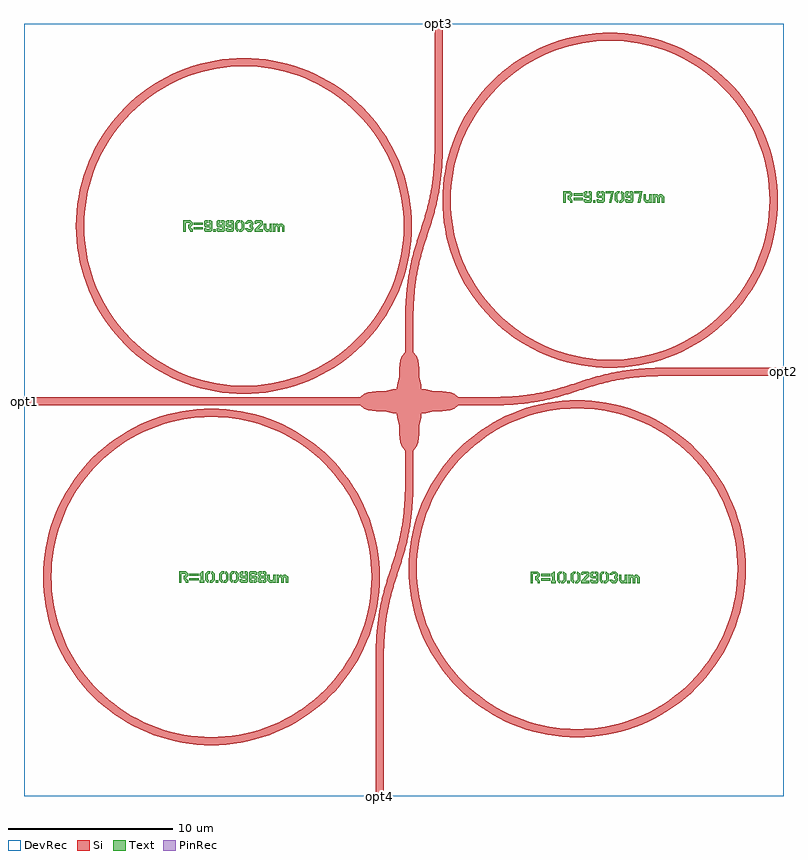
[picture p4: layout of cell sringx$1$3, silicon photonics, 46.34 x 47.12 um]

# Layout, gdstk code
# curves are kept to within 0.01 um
import gdstk
lib = gdstk.Library(unit=1e-6, precision=1e-09)
def R(c, l, rs):  # rectangles x0, y0, x1, y1
    for r in rs: c.add(gdstk.rectangle(r[:2], r[2:], *l))
def P(c, l, *ps):  # polygons
    for p in ps: c.add(gdstk.Polygon(p, *l))
Si = (1, 0)
PinRec = (1, 10)
Text = (10, 0)
DevRec = (68, 0)

sringx_1_3 = lib.new_cell('sringx$1$3')
R(sringx_1_3, Si, [(21.43,0,21.93,8.29), (0,23.83,18.68,24.33), (39.28,25.63,46.32,26.13), (25.03,39.88,25.53,47.1)])
P(sringx_1_3, Si, [(23.23,19.28),(23.23,21.08),(23.02,21.33),(22.93,21.58),(22.89,21.83),(22.86,22.58),(22.76,23.08),(22.73,23.34),(22.48,23.36),(21.98,23.46),(21.23,23.49),(20.98,23.53),(20.73,23.62),(20.48,23.83),(18.68,23.83),(18.68,24.33),(20.48,24.33),(20.73,24.54),(20.98,24.63),(21.23,24.67),(21.98,24.7),(22.48,24.8),(22.73,24.82),(22.76,25.08),(22.86,25.58),(22.89,26.33),(22.93,26.58),(23.02,26.83),(23.23,27.08),(23.23,28.88),(23.73,28.88),(23.73,27.08),(23.94,26.83),(24.03,26.58),(24.07,26.33),(24.1,25.58),(24.2,25.08),(24.22,24.83),(24.48,24.8),(24.98,24.7),(25.73,24.67),(25.98,24.63),(26.23,24.54),(26.48,24.33),(28.28,24.33),(28.28,23.83),(26.48,23.83),(26.23,23.62),(25.98,23.53),(25.73,23.49),(24.98,23.46),(24.48,23.36),(24.22,23.33),(24.2,23.08),(24.1,22.58),(24.07,21.83),(24.03,21.58),(23.94,21.33),(23.73,21.08),(23.73,19.28)],
  [(28.28,23.83),(28.28,24.33),(29.22,24.349),(30.051,24.403),(30.787,24.487),(31.549,24.617),(32.136,24.749),(32.68,24.896),(34.298,25.41),(35.017,25.622),(35.703,25.79),(36.467,25.933),(37.201,26.029),(37.879,26.087),(38.626,26.121),(39.28,26.13),(39.28,25.63),(38.34,25.611),(37.509,25.557),(36.773,25.473),(36.011,25.343),(35.424,25.211),(34.88,25.064),(33.262,24.55),(32.543,24.338),(31.857,24.17),(31.093,24.027),(30.359,23.931),(29.681,23.873),(28.934,23.839)],
  [(21.43,8.28),(21.439,8.934),(21.473,9.681),(21.531,10.359),(21.627,11.093),(21.77,11.857),(21.938,12.543),(22.15,13.262),(22.664,14.88),(22.811,15.424),(22.943,16.011),(23.073,16.773),(23.157,17.509),(23.211,18.34),(23.23,19.28),(23.73,19.28),(23.721,18.626),(23.687,17.879),(23.629,17.201),(23.533,16.467),(23.39,15.703),(23.222,15.017),(23.01,14.298),(22.496,12.68),(22.349,12.136),(22.217,11.549),(22.087,10.787),(22.003,10.051),(21.949,9.22),(21.93,8.28)],
  [(23.23,28.88),(23.239,29.534),(23.273,30.281),(23.331,30.959),(23.427,31.693),(23.57,32.457),(23.738,33.143),(23.95,33.862),(24.464,35.48),(24.611,36.024),(24.743,36.611),(24.873,37.373),(24.957,38.109),(25.011,38.94),(25.03,39.88),(25.53,39.88),(25.521,39.226),(25.487,38.479),(25.429,37.801),(25.333,37.067),(25.19,36.303),(25.022,35.617),(24.81,34.898),(24.296,33.28),(24.149,32.736),(24.017,32.149),(23.887,31.387),(23.803,30.651),(23.749,29.82),(23.73,28.88)],
  [(13.4,24.53),(12.953,24.539),(12.063,24.617),(11.184,24.772),(10.321,25.004),(9.481,25.309),(9.072,25.489),(8.672,25.687),(7.898,26.133),(7.526,26.382),(6.818,26.925),(6.159,27.529),(5.555,28.188),(5.276,28.536),(4.763,29.268),(4.317,30.042),(4.119,30.442),(3.939,30.851),(3.634,31.691),(3.402,32.554),(3.247,33.433),(3.169,34.323),(3.16,34.77),(3.169,35.217),(3.247,36.107),(3.402,36.986),(3.634,37.849),(3.939,38.689),(4.119,39.098),(4.317,39.498),(4.763,40.272),(5.012,40.644),(5.555,41.352),(6.159,42.011),(6.818,42.615),(7.166,42.894),(7.898,43.407),(8.672,43.853),(9.072,44.051),(9.481,44.231),(10.321,44.536),(11.184,44.768),(12.063,44.923),(12.953,45.001),(13.4,45.01),(13.847,45.001),(14.737,44.923),(15.616,44.768),(16.479,44.536),(17.319,44.231),(17.728,44.051),(18.128,43.853),(18.902,43.407),(19.274,43.158),(19.982,42.615),(20.641,42.011),(21.245,41.352),(21.524,41.004),(22.037,40.272),(22.483,39.498),(22.681,39.098),(22.861,38.689),(23.166,37.849),(23.398,36.986),(23.553,36.107),(23.631,35.217),(23.64,34.77),(23.14,34.77),(23.131,35.195),(23.057,36.041),(22.909,36.878),(22.69,37.699),(22.399,38.497),(22.04,39.268),(21.615,40.003),(21.379,40.357),(21.128,40.7),(20.581,41.35),(19.98,41.951),(19.33,42.498),(18.987,42.749),(18.27,43.205),(17.898,43.41),(17.127,43.769),(16.329,44.06),(15.921,44.178),(15.508,44.279),(14.671,44.427),(13.825,44.501),(12.975,44.501),(12.129,44.427),(11.709,44.362),(11.292,44.279),(10.471,44.06),(9.673,43.769),(8.902,43.41),(8.167,42.985),(7.47,42.498),(7.139,42.232),(6.513,41.657),(5.938,41.031),(5.672,40.7),(5.185,40.003),(4.76,39.268),(4.572,38.886),(4.401,38.497),(4.11,37.699),(3.891,36.878),(3.808,36.461),(3.743,36.041),(3.669,35.195),(3.669,34.345),(3.743,33.499),(3.808,33.079),(3.891,32.662),(4.11,31.841),(4.401,31.043),(4.572,30.654),(4.76,30.272),(5.185,29.537),(5.672,28.84),(5.938,28.509),(6.513,27.883),(7.139,27.308),(7.47,27.042),(7.813,26.791),(8.53,26.335),(8.902,26.13),(9.673,25.771),(10.471,25.48),(10.879,25.362),(11.292,25.261),(12.129,25.113),(12.975,25.039),(13.825,25.039),(14.249,25.067),(15.091,25.178),(15.508,25.261),(16.329,25.48),(17.127,25.771),(17.516,25.942),(17.898,26.13),(18.633,26.555),(19.33,27.042),(19.661,27.308),(20.287,27.883),(20.862,28.509),(21.128,28.84),(21.615,29.537),(22.04,30.272),(22.228,30.654),(22.399,31.043),(22.69,31.841),(22.909,32.662),(23.057,33.499),(23.131,34.345),(23.14,34.77),(23.64,34.77),(23.631,34.323),(23.553,33.433),(23.398,32.554),(23.166,31.691),(22.861,30.851),(22.681,30.442),(22.483,30.042),(22.037,29.268),(21.788,28.896),(21.245,28.188),(20.641,27.529),(19.982,26.925),(19.634,26.646),(18.902,26.133),(18.128,25.687),(17.728,25.489),(17.319,25.309),(16.479,25.004),(15.616,24.772),(14.737,24.617),(13.847,24.539)],
  [(11.42,3.11),(10.526,3.149),(9.638,3.266),(8.765,3.46),(8.335,3.585),(7.494,3.891),(6.683,4.27),(5.907,4.717),(5.174,5.23),(4.825,5.511),(4.165,6.115),(3.561,6.775),(3.28,7.124),(2.767,7.857),(2.32,8.633),(1.941,9.444),(1.635,10.285),(1.51,10.715),(1.316,11.588),(1.199,12.476),(1.16,13.37),(1.199,14.264),(1.316,15.152),(1.51,16.025),(1.635,16.455),(1.941,17.296),(2.32,18.107),(2.767,18.883),(3.28,19.616),(3.561,19.965),(4.165,20.625),(4.825,21.229),(5.174,21.51),(5.907,22.023),(6.683,22.47),(7.494,22.849),(8.335,23.155),(8.765,23.28),(9.638,23.474),(10.526,23.591),(11.42,23.63),(12.314,23.591),(13.202,23.474),(14.075,23.28),(14.505,23.155),(15.346,22.849),(16.157,22.47),(16.933,22.023),(17.666,21.51),(18.015,21.229),(18.675,20.625),(19.279,19.965),(19.56,19.616),(20.073,18.883),(20.52,18.107),(20.899,17.296),(21.205,16.455),(21.33,16.025),(21.524,15.152),(21.641,14.264),(21.68,13.37),(21.18,13.37),(21.143,14.221),(21.096,14.644),(20.948,15.482),(20.728,16.305),(20.437,17.105),(20.077,17.877),(19.872,18.25),(19.415,18.968),(19.163,19.311),(18.616,19.964),(18.014,20.566),(17.361,21.113),(17.018,21.365),(16.3,21.822),(15.927,22.027),(15.155,22.387),(14.355,22.678),(13.946,22.797),(13.115,22.981),(12.271,23.093),(11.42,23.13),(10.994,23.12),(10.569,23.093),(9.725,22.981),(8.894,22.797),(8.485,22.678),(7.685,22.387),(6.913,22.027),(6.54,21.822),(5.822,21.365),(5.147,20.846),(4.826,20.566),(4.519,20.271),(4.224,19.964),(3.677,19.311),(3.425,18.968),(2.968,18.25),(2.763,17.877),(2.403,17.105),(2.112,16.305),(1.892,15.482),(1.809,15.065),(1.697,14.221),(1.66,13.37),(1.67,12.944),(1.697,12.519),(1.809,11.675),(1.993,10.844),(2.112,10.435),(2.403,9.635),(2.763,8.863),(2.968,8.49),(3.425,7.772),(3.677,7.429),(4.224,6.776),(4.519,6.469),(4.826,6.174),(5.479,5.627),(5.822,5.375),(6.54,4.918),(6.913,4.713),(7.685,4.353),(8.485,4.062),(8.894,3.943),(9.725,3.759),(10.146,3.694),(10.569,3.647),(11.42,3.61),(12.271,3.647),(13.115,3.759),(13.532,3.842),(14.355,4.062),(15.155,4.353),(15.545,4.525),(15.927,4.713),(16.664,5.139),(17.361,5.627),(18.014,6.174),(18.321,6.469),(18.616,6.776),(19.163,7.429),(19.651,8.126),(20.077,8.863),(20.265,9.245),(20.437,9.635),(20.728,10.435),(20.948,11.258),(21.096,12.096),(21.143,12.519),(21.18,13.37),(21.68,13.37),(21.641,12.476),(21.524,11.588),(21.33,10.715),(21.205,10.285),(20.899,9.444),(20.52,8.633),(20.073,7.857),(19.56,7.124),(19.279,6.775),(18.675,6.115),(18.015,5.511),(17.666,5.23),(16.933,4.717),(16.157,4.27),(15.346,3.891),(14.505,3.585),(14.075,3.46),(13.202,3.266),(12.314,3.149)],
  [(35.73,26.119),(34.839,26.158),(34.396,26.206),(33.955,26.274),(33.518,26.361),(32.656,26.592),(32.234,26.735),(31.819,26.897),(31.01,27.274),(30.62,27.488),(29.867,27.967),(29.16,28.51),(28.503,29.113),(27.9,29.77),(27.357,30.477),(26.878,31.23),(26.664,31.62),(26.287,32.429),(26.125,32.844),(25.982,33.266),(25.857,33.695),(25.664,34.565),(25.596,35.006),(25.548,35.449),(25.509,36.34),(25.548,37.231),(25.596,37.674),(25.664,38.115),(25.751,38.552),(25.982,39.414),(26.125,39.836),(26.287,40.251),(26.664,41.06),(26.878,41.45),(27.357,42.203),(27.9,42.91),(28.503,43.567),(29.16,44.17),(29.867,44.713),(30.62,45.192),(31.01,45.406),(31.819,45.783),(32.234,45.945),(32.656,46.088),(33.085,46.213),(33.955,46.406),(34.396,46.474),(34.839,46.522),(35.73,46.561),(36.621,46.522),(37.064,46.474),(37.505,46.406),(37.942,46.319),(38.804,46.088),(39.226,45.945),(39.641,45.783),(40.45,45.406),(40.84,45.192),(41.593,44.713),(42.3,44.17),(42.957,43.567),(43.56,42.91),(44.103,42.203),(44.582,41.45),(44.796,41.06),(45.173,40.251),(45.335,39.836),(45.478,39.414),(45.603,38.985),(45.796,38.115),(45.864,37.674),(45.912,37.231),(45.951,36.34),(45.451,36.34),(45.442,36.764),(45.368,37.609),(45.221,38.444),(45.001,39.263),(44.711,40.06),(44.353,40.829),(43.929,41.563),(43.693,41.916),(43.177,42.589),(42.897,42.907),(42.604,43.214),(41.979,43.787),(41.306,44.303),(40.953,44.539),(40.219,44.963),(39.45,45.321),(38.653,45.611),(37.834,45.831),(36.999,45.978),(36.577,46.024),(36.154,46.052),(35.306,46.052),(34.461,45.978),(33.626,45.831),(33.214,45.73),(32.405,45.475),(32.01,45.321),(31.241,44.963),(30.507,44.539),(30.154,44.303),(29.481,43.787),(28.856,43.214),(28.283,42.589),(28.018,42.258),(27.531,41.563),(27.311,41.2),(27.107,40.829),(26.749,40.06),(26.595,39.665),(26.34,38.856),(26.239,38.444),(26.092,37.609),(26.018,36.764),(26.018,35.916),(26.046,35.493),(26.092,35.071),(26.239,34.236),(26.34,33.824),(26.595,33.015),(26.749,32.62),(27.107,31.851),(27.531,31.117),(27.767,30.764),(28.283,30.091),(28.856,29.466),(29.163,29.173),(29.481,28.893),(30.154,28.377),(30.507,28.141),(31.241,27.717),(32.01,27.359),(32.405,27.205),(33.214,26.95),(33.626,26.849),(34.461,26.702),(35.306,26.628),(36.154,26.628),(36.577,26.656),(36.999,26.702),(37.834,26.849),(38.246,26.95),(39.055,27.205),(39.45,27.359),(40.219,27.717),(40.953,28.141),(41.306,28.377),(41.979,28.893),(42.604,29.466),(43.177,30.091),(43.693,30.764),(43.929,31.117),(44.353,31.851),(44.711,32.62),(44.865,33.015),(45.12,33.824),(45.221,34.236),(45.368,35.071),(45.442,35.916),(45.451,36.34),(45.951,36.34),(45.912,35.449),(45.864,35.006),(45.796,34.565),(45.709,34.128),(45.478,33.266),(45.335,32.844),(45.173,32.429),(44.796,31.62),(44.582,31.23),(44.103,30.477),(43.56,29.77),(42.957,29.113),(42.3,28.51),(41.593,27.967),(40.84,27.488),(40.45,27.274),(39.641,26.897),(39.226,26.735),(38.804,26.592),(38.375,26.467),(37.505,26.274),(37.064,26.206),(36.621,26.158)],
  [(33.72,3.591),(32.824,3.63),(31.935,3.747),(31.06,3.941),(30.204,4.211),(29.786,4.373),(28.974,4.752),(28.58,4.968),(27.824,5.45),(27.113,5.996),(26.452,6.602),(25.846,7.263),(25.3,7.974),(24.818,8.73),(24.602,9.124),(24.223,9.936),(24.061,10.354),(23.791,11.21),(23.597,12.085),(23.48,12.974),(23.441,13.87),(23.48,14.766),(23.597,15.655),(23.791,16.53),(24.061,17.386),(24.223,17.804),(24.602,18.616),(24.818,19.01),(25.3,19.766),(25.846,20.477),(26.452,21.138),(27.113,21.744),(27.824,22.29),(28.58,22.772),(28.974,22.988),(29.786,23.367),(30.204,23.529),(31.06,23.799),(31.935,23.993),(32.824,24.11),(33.72,24.149),(34.616,24.11),(35.505,23.993),(36.38,23.799),(37.236,23.529),(37.654,23.367),(38.466,22.988),(38.86,22.772),(39.616,22.29),(40.327,21.744),(40.988,21.138),(41.594,20.477),(42.14,19.766),(42.622,19.01),(42.838,18.616),(43.217,17.804),(43.379,17.386),(43.649,16.53),(43.843,15.655),(43.96,14.766),(43.999,13.87),(43.499,13.87),(43.462,14.722),(43.35,15.568),(43.166,16.401),(43.046,16.811),(42.755,17.612),(42.583,18.003),(42.189,18.76),(41.731,19.479),(41.211,20.156),(40.93,20.477),(40.327,21.08),(40.006,21.361),(39.329,21.881),(38.61,22.339),(37.853,22.733),(37.462,22.905),(37.065,23.059),(36.251,23.316),(35.418,23.5),(34.572,23.612),(34.147,23.64),(33.293,23.64),(32.444,23.565),(31.603,23.417),(30.779,23.196),(29.978,22.905),(29.587,22.733),(28.83,22.339),(28.111,21.881),(27.767,21.628),(27.113,21.08),(26.805,20.785),(26.51,20.477),(25.962,19.823),(25.709,19.479),(25.251,18.76),(24.857,18.003),(24.685,17.612),(24.531,17.215),(24.274,16.401),(24.173,15.987),(24.025,15.146),(23.95,14.297),(23.95,13.443),(23.978,13.018),(24.09,12.172),(24.173,11.753),(24.274,11.339),(24.531,10.525),(24.857,9.737),(25.251,8.98),(25.472,8.616),(25.709,8.261),(26.229,7.584),(26.51,7.263),(27.113,6.66),(27.434,6.379),(28.111,5.859),(28.83,5.401),(29.587,5.007),(29.978,4.835),(30.375,4.681),(31.189,4.424),(31.603,4.323),(32.444,4.175),(33.293,4.1),(34.147,4.1),(34.572,4.128),(35.418,4.24),(35.837,4.323),(36.251,4.424),(37.065,4.681),(37.853,5.007),(38.61,5.401),(38.974,5.622),(39.329,5.859),(40.006,6.379),(40.635,6.955),(41.211,7.584),(41.731,8.261),(41.968,8.616),(42.189,8.98),(42.583,9.737),(42.909,10.525),(43.166,11.339),(43.267,11.753),(43.415,12.594),(43.49,13.443),(43.499,13.87),(43.999,13.87),(43.96,12.974),(43.843,12.085),(43.649,11.21),(43.379,10.354),(43.217,9.936),(42.838,9.124),(42.622,8.73),(42.14,7.974),(41.594,7.263),(40.988,6.602),(40.327,5.996),(39.616,5.45),(38.86,4.968),(38.466,4.752),(37.654,4.373),(37.236,4.211),(36.38,3.941),(35.505,3.747),(34.616,3.63)])
R(sringx_1_3, Text, [(33.124,13.001,33.264,13.141), (11.685,13.02,11.825,13.16), (31.514,13.141,32.074,13.281), (10.075,13.16,10.635,13.3), (31.514,13.421,32.074,13.561), (10.075,13.44,10.635,13.58), (11.53,34.42,11.67,34.56), (10.34,34.56,10.9,34.7), (10.34,34.84,10.9,34.98), (34.691,36.201,34.831,36.341), (33.501,36.341,34.061,36.481), (33.501,36.621,34.061,36.761)])
P(sringx_1_3, Text, [(35.671,36.201),(35.783,36.761),(35.461,36.761),(35.461,36.901),(35.951,36.901),(35.811,36.201)],
  [(37.421,36.201),(37.533,36.761),(37.211,36.761),(37.211,36.901),(37.701,36.901),(37.561,36.201)],
  [(33.964,13.001),(33.964,13.141),(34.314,13.491),(34.314,13.561),(34.104,13.561),(34.104,13.491),(33.964,13.491),(33.964,13.631),(34.034,13.701),(34.384,13.701),(34.454,13.631),(34.454,13.421),(34.174,13.141),(34.454,13.141),(34.454,13.001)],
  [(14.05,34.42),(14.05,34.56),(14.4,34.91),(14.4,34.98),(14.19,34.98),(14.19,34.91),(14.05,34.91),(14.05,35.05),(14.12,35.12),(14.47,35.12),(14.54,35.05),(14.54,34.84),(14.26,34.56),(14.54,34.56),(14.54,34.42)],
  [(13.785,13.02),(13.715,13.09),(13.715,13.65),(13.785,13.72),(14.135,13.72),(14.205,13.65),(14.205,13.51),(14.065,13.51),(14.065,13.58),(13.855,13.58),(13.855,13.44),(14.135,13.44),(14.205,13.37),(14.205,13.09),(14.135,13.02),(13.995,13.02),(13.995,13.16),(14.065,13.16),(14.065,13.3),(13.855,13.3),(13.855,13.16),(13.925,13.16),(13.925,13.02)],
  [(32.753,13.001),(32.788,13.141),(32.844,13.141),(32.914,13.211),(32.914,13.491),(32.844,13.561),(32.879,13.701),(32.914,13.701),(33.054,13.561),(33.054,13.141),(32.914,13.001)],
  [(33.593,13.001),(33.628,13.141),(33.684,13.141),(33.754,13.211),(33.754,13.491),(33.684,13.561),(33.719,13.701),(33.754,13.701),(33.894,13.561),(33.894,13.141),(33.754,13.001)],
  [(35.343,13.001),(35.378,13.141),(35.434,13.141),(35.504,13.211),(35.504,13.491),(35.434,13.561),(35.469,13.701),(35.504,13.701),(35.644,13.561),(35.644,13.141),(35.504,13.001)],
  [(11.314,13.02),(11.349,13.16),(11.405,13.16),(11.475,13.23),(11.475,13.51),(11.405,13.58),(11.44,13.72),(11.475,13.72),(11.615,13.58),(11.615,13.16),(11.475,13.02)],
  [(12.154,13.02),(12.189,13.16),(12.245,13.16),(12.315,13.23),(12.315,13.51),(12.245,13.58),(12.28,13.72),(12.315,13.72),(12.455,13.58),(12.455,13.16),(12.315,13.02)],
  [(12.784,13.02),(12.819,13.16),(12.875,13.16),(12.945,13.23),(12.945,13.51),(12.875,13.58),(12.91,13.72),(12.945,13.72),(13.085,13.58),(13.085,13.16),(12.945,13.02)],
  [(13.119,34.42),(13.154,34.56),(13.21,34.56),(13.28,34.63),(13.28,34.91),(13.21,34.98),(13.245,35.12),(13.28,35.12),(13.42,34.98),(13.42,34.56),(13.28,34.42)],
  [(36.28,36.201),(36.315,36.341),(36.371,36.341),(36.441,36.411),(36.441,36.691),(36.371,36.761),(36.406,36.901),(36.441,36.901),(36.581,36.761),(36.581,36.341),(36.441,36.201)],
  [(35.854,13.001),(35.714,13.141),(35.714,13.211),(35.854,13.211),(35.924,13.141),(35.994,13.141),(36.064,13.211),(35.994,13.281),(35.994,13.421),(36.064,13.491),(35.994,13.561),(35.924,13.561),(35.854,13.491),(35.714,13.491),(35.714,13.561),(35.854,13.701),(36.064,13.701),(36.204,13.561),(36.204,13.421),(36.134,13.351),(36.204,13.281),(36.204,13.141),(36.064,13.001)],
  [(13.63,34.42),(13.49,34.56),(13.49,34.63),(13.63,34.63),(13.7,34.56),(13.77,34.56),(13.84,34.63),(13.77,34.7),(13.77,34.84),(13.84,34.91),(13.77,34.98),(13.7,34.98),(13.63,34.91),(13.49,34.91),(13.49,34.98),(13.63,35.12),(13.84,35.12),(13.98,34.98),(13.98,34.84),(13.91,34.77),(13.98,34.7),(13.98,34.56),(13.84,34.42)],
  [(30.884,13.001),(30.884,13.701),(31.304,13.701),(31.444,13.561),(31.444,13.421),(31.304,13.281),(31.444,13.141),(31.444,13.001),(31.304,13.001),(31.304,13.071),(31.164,13.211),(31.164,13.421),(31.234,13.421),(31.304,13.491),(31.234,13.561),(31.024,13.561),(31.024,13.001)],
  [(9.445,13.02),(9.445,13.72),(9.865,13.72),(10.005,13.58),(10.005,13.44),(9.865,13.3),(10.005,13.16),(10.005,13.02),(9.865,13.02),(9.865,13.09),(9.725,13.23),(9.725,13.44),(9.795,13.44),(9.865,13.51),(9.795,13.58),(9.585,13.58),(9.585,13.02)],
  [(9.71,34.42),(9.71,35.12),(10.13,35.12),(10.27,34.98),(10.27,34.84),(10.13,34.7),(10.27,34.56),(10.27,34.42),(10.13,34.42),(10.13,34.49),(9.99,34.63),(9.99,34.84),(10.06,34.84),(10.13,34.91),(10.06,34.98),(9.85,34.98),(9.85,34.42)],
  [(32.871,36.201),(32.871,36.901),(33.291,36.901),(33.431,36.761),(33.431,36.621),(33.291,36.481),(33.431,36.341),(33.431,36.201),(33.291,36.201),(33.291,36.271),(33.151,36.411),(33.151,36.621),(33.221,36.621),(33.291,36.691),(33.221,36.761),(33.011,36.761),(33.011,36.201)],
  [(36.834,13.001),(36.834,13.491),(36.974,13.491),(36.974,13.421),(37.044,13.491),(37.114,13.491),(37.184,13.421),(37.254,13.491),(37.394,13.491),(37.534,13.351),(37.534,13.001),(37.394,13.001),(37.394,13.281),(37.324,13.351),(37.254,13.281),(37.254,13.001),(37.114,13.001),(37.114,13.281),(37.044,13.351),(36.974,13.281),(36.974,13.001)],
  [(15.395,13.02),(15.395,13.51),(15.535,13.51),(15.535,13.44),(15.605,13.51),(15.675,13.51),(15.745,13.44),(15.815,13.51),(15.955,13.51),(16.095,13.37),(16.095,13.02),(15.955,13.02),(15.955,13.3),(15.885,13.37),(15.815,13.3),(15.815,13.02),(15.675,13.02),(15.675,13.3),(15.605,13.37),(15.535,13.3),(15.535,13.02)],
  [(15.17,34.42),(15.17,34.91),(15.31,34.91),(15.31,34.84),(15.38,34.91),(15.45,34.91),(15.52,34.84),(15.59,34.91),(15.73,34.91),(15.87,34.77),(15.87,34.42),(15.73,34.42),(15.73,34.7),(15.66,34.77),(15.59,34.7),(15.59,34.42),(15.45,34.42),(15.45,34.7),(15.38,34.77),(15.31,34.7),(15.31,34.42)],
  [(38.331,36.201),(38.331,36.691),(38.471,36.691),(38.471,36.621),(38.541,36.691),(38.611,36.691),(38.681,36.621),(38.751,36.691),(38.891,36.691),(39.031,36.551),(39.031,36.201),(38.891,36.201),(38.891,36.481),(38.821,36.551),(38.751,36.481),(38.751,36.201),(38.611,36.201),(38.611,36.481),(38.541,36.551),(38.471,36.481),(38.471,36.201)],
  [(32.634,13.001),(32.494,13.141),(32.494,13.561),(32.634,13.701),(32.795,13.701),(32.76,13.561),(32.704,13.561),(32.634,13.491),(32.634,13.211),(32.704,13.141),(32.669,13.001)],
  [(33.474,13.001),(33.334,13.141),(33.334,13.561),(33.474,13.701),(33.635,13.701),(33.6,13.561),(33.544,13.561),(33.474,13.491),(33.474,13.211),(33.544,13.141),(33.509,13.001)],
  [(35.224,13.001),(35.084,13.141),(35.084,13.561),(35.224,13.701),(35.385,13.701),(35.35,13.561),(35.294,13.561),(35.224,13.491),(35.224,13.211),(35.294,13.141),(35.259,13.001)],
  [(11.195,13.02),(11.055,13.16),(11.055,13.58),(11.195,13.72),(11.356,13.72),(11.321,13.58),(11.265,13.58),(11.195,13.51),(11.195,13.23),(11.265,13.16),(11.23,13.02)],
  [(12.035,13.02),(11.895,13.16),(11.895,13.58),(12.035,13.72),(12.196,13.72),(12.161,13.58),(12.105,13.58),(12.035,13.51),(12.035,13.23),(12.105,13.16),(12.07,13.02)],
  [(12.665,13.02),(12.525,13.16),(12.525,13.58),(12.665,13.72),(12.826,13.72),(12.791,13.58),(12.735,13.58),(12.665,13.51),(12.665,13.23),(12.735,13.16),(12.7,13.02)],
  [(13,34.42),(12.86,34.56),(12.86,34.98),(13,35.12),(13.161,35.12),(13.126,34.98),(13.07,34.98),(13,34.91),(13,34.63),(13.07,34.56),(13.035,34.42)],
  [(36.161,36.201),(36.021,36.341),(36.021,36.761),(36.161,36.901),(36.322,36.901),(36.287,36.761),(36.231,36.761),(36.161,36.691),(36.161,36.411),(36.231,36.341),(36.196,36.201)],
  [(36.414,13.001),(36.274,13.141),(36.274,13.491),(36.414,13.491),(36.414,13.211),(36.484,13.141),(36.554,13.141),(36.624,13.211),(36.624,13.491),(36.764,13.491),(36.764,13.001),(36.624,13.001),(36.624,13.071),(36.554,13.001)],
  [(14.975,13.02),(14.835,13.16),(14.835,13.51),(14.975,13.51),(14.975,13.23),(15.045,13.16),(15.115,13.16),(15.185,13.23),(15.185,13.51),(15.325,13.51),(15.325,13.02),(15.185,13.02),(15.185,13.09),(15.115,13.02)],
  [(14.75,34.42),(14.61,34.56),(14.61,34.91),(14.75,34.91),(14.75,34.63),(14.82,34.56),(14.89,34.56),(14.96,34.63),(14.96,34.91),(15.1,34.91),(15.1,34.42),(14.96,34.42),(14.96,34.49),(14.89,34.42)],
  [(37.911,36.201),(37.771,36.341),(37.771,36.691),(37.911,36.691),(37.911,36.411),(37.981,36.341),(38.051,36.341),(38.121,36.411),(38.121,36.691),(38.261,36.691),(38.261,36.201),(38.121,36.201),(38.121,36.271),(38.051,36.201)],
  [(32.144,13.001),(32.144,13.141),(32.214,13.141),(32.214,13.421),(32.144,13.421),(32.144,13.561),(32.284,13.701),(32.354,13.701),(32.354,13.141),(32.424,13.141),(32.424,13.001)],
  [(10.705,13.02),(10.705,13.16),(10.775,13.16),(10.775,13.44),(10.705,13.44),(10.705,13.58),(10.845,13.72),(10.915,13.72),(10.915,13.16),(10.985,13.16),(10.985,13.02)],
  [(34.594,13.001),(34.524,13.071),(34.524,13.211),(34.664,13.211),(34.664,13.141),(34.874,13.141),(34.874,13.281),(34.594,13.281),(34.524,13.351),(34.524,13.631),(34.594,13.701),(34.734,13.701),(34.734,13.561),(34.664,13.561),(34.664,13.421),(34.874,13.421),(34.874,13.561),(34.804,13.561),(34.804,13.701),(34.944,13.701),(35.014,13.631),(35.014,13.071),(34.944,13.001)],
  [(13.225,13.02),(13.155,13.09),(13.155,13.23),(13.295,13.23),(13.295,13.16),(13.505,13.16),(13.505,13.3),(13.225,13.3),(13.155,13.37),(13.155,13.65),(13.225,13.72),(13.365,13.72),(13.365,13.58),(13.295,13.58),(13.295,13.44),(13.505,13.44),(13.505,13.58),(13.435,13.58),(13.435,13.72),(13.575,13.72),(13.645,13.65),(13.645,13.09),(13.575,13.02)],
  [(11.04,34.42),(10.97,34.49),(10.97,34.63),(11.11,34.63),(11.11,34.56),(11.32,34.56),(11.32,34.7),(11.04,34.7),(10.97,34.77),(10.97,35.05),(11.04,35.12),(11.18,35.12),(11.18,34.98),(11.11,34.98),(11.11,34.84),(11.32,34.84),(11.32,34.98),(11.25,34.98),(11.25,35.12),(11.39,35.12),(11.46,35.05),(11.46,34.49),(11.39,34.42)],
  [(11.81,34.42),(11.74,34.49),(11.74,34.63),(11.88,34.63),(11.88,34.56),(12.09,34.56),(12.09,34.7),(11.81,34.7),(11.74,34.77),(11.74,35.05),(11.81,35.12),(11.95,35.12),(11.95,34.98),(11.88,34.98),(11.88,34.84),(12.09,34.84),(12.09,34.98),(12.02,34.98),(12.02,35.12),(12.16,35.12),(12.23,35.05),(12.23,34.49),(12.16,34.42)],
  [(12.37,34.42),(12.3,34.49),(12.3,34.63),(12.44,34.63),(12.44,34.56),(12.65,34.56),(12.65,34.7),(12.37,34.7),(12.3,34.77),(12.3,35.05),(12.37,35.12),(12.51,35.12),(12.51,34.98),(12.44,34.98),(12.44,34.84),(12.65,34.84),(12.65,34.98),(12.58,34.98),(12.58,35.12),(12.72,35.12),(12.79,35.05),(12.79,34.49),(12.72,34.42)],
  [(34.201,36.201),(34.131,36.271),(34.131,36.411),(34.271,36.411),(34.271,36.341),(34.481,36.341),(34.481,36.481),(34.201,36.481),(34.131,36.551),(34.131,36.831),(34.201,36.901),(34.341,36.901),(34.341,36.761),(34.271,36.761),(34.271,36.621),(34.481,36.621),(34.481,36.761),(34.411,36.761),(34.411,36.901),(34.551,36.901),(34.621,36.831),(34.621,36.271),(34.551,36.201)],
  [(34.971,36.201),(34.901,36.271),(34.901,36.411),(35.041,36.411),(35.041,36.341),(35.251,36.341),(35.251,36.481),(34.971,36.481),(34.901,36.551),(34.901,36.831),(34.971,36.901),(35.111,36.901),(35.111,36.761),(35.041,36.761),(35.041,36.621),(35.251,36.621),(35.251,36.761),(35.181,36.761),(35.181,36.901),(35.321,36.901),(35.391,36.831),(35.391,36.271),(35.321,36.201)],
  [(36.721,36.201),(36.651,36.271),(36.651,36.411),(36.791,36.411),(36.791,36.341),(37.001,36.341),(37.001,36.481),(36.721,36.481),(36.651,36.551),(36.651,36.831),(36.721,36.901),(36.861,36.901),(36.861,36.761),(36.791,36.761),(36.791,36.621),(37.001,36.621),(37.001,36.761),(36.931,36.761),(36.931,36.901),(37.071,36.901),(37.141,36.831),(37.141,36.271),(37.071,36.201)],
  [(14.345,13.02),(14.275,13.09),(14.275,13.3),(14.345,13.37),(14.275,13.44),(14.275,13.65),(14.345,13.72),(14.485,13.72),(14.485,13.58),(14.415,13.58),(14.415,13.44),(14.625,13.44),(14.625,13.58),(14.555,13.58),(14.555,13.72),(14.695,13.72),(14.765,13.65),(14.765,13.44),(14.695,13.37),(14.765,13.3),(14.765,13.09),(14.695,13.02),(14.555,13.02),(14.555,13.16),(14.625,13.16),(14.625,13.3),(14.415,13.3),(14.415,13.16),(14.485,13.16),(14.485,13.02)])
R(sringx_1_3, DevRec, [(0,0,46.32,47.1)])
sringx_1_3.add(gdstk.FlexPath([(0.01,24.08),(-0.01,24.08)], 0.5, ends="flush", simple_path=True, layer=1, datatype=10))  # PinRec
sringx_1_3.add(gdstk.FlexPath([(46.31,25.88),(46.33,25.88)], 0.5, ends="flush", simple_path=True, layer=1, datatype=10))  # PinRec
sringx_1_3.add(gdstk.FlexPath([(25.28,47.09),(25.28,47.11)], 0.5, ends="flush", simple_path=True, layer=1, datatype=10))  # PinRec
sringx_1_3.add(gdstk.FlexPath([(21.68,0.01),(21.68,-0.01)], 0.5, ends="flush", simple_path=True, layer=1, datatype=10))  # PinRec
sringx_1_3.add(gdstk.Label('opt2', (46.32,25.88), layer=1, texttype=10))
sringx_1_3.add(gdstk.Label('opt1', (0,24.08), layer=1, texttype=10))
sringx_1_3.add(gdstk.Label('opt3', (25.28,47.1), layer=1, texttype=10))
sringx_1_3.add(gdstk.Label('opt4', (21.68,0), layer=1, texttype=10))

lib.write_gds('sringx_1_3.gds')
